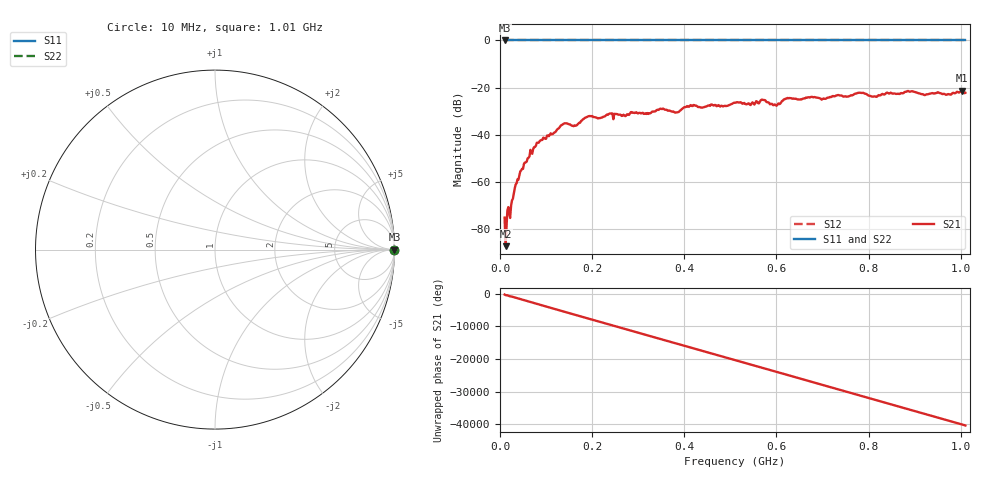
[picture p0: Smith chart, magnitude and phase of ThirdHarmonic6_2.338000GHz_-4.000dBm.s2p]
! 8/17/2025 3:25:58 AM
! C:\ANRITSUVNA\TEMP\TEMP.S2P
! CHANNEL.1
! TR.MEASUREMENT
! RAW.DATA
! RF.CORRECTION.OFF
! AVERAGING.OFF
! IF.BANDWIDTH: 5KHZ
! SWEEPTYPE:  FREQ.SWEEP(Linear)
! Reference Plane Port Info
! PORT:  PORT1  PORT2
! DISTANCE:  0  m  0  m
! TIME:  0  s  0  s
! PHASE.OFFSET:  0  deg.  0  deg.
! LOSS:  0  dB  0  dB
! REF.LOSS:  0  dB  0  dB
! REF.FREQ:  0  Hz  0  Hz
! Power Info
! POWER:  -20  dBm  -20  dBm
! EFF.POWER:  -20  dBm  -20  dBm
! SOURCE.ATTEN:  0  dB  0  dB
! TEST.ATTEN:  0  dB  0  dB
# GHZ S RI R 50.0
! FREQ.GHZ  S11RE  S11IM  S21RE  S21IM  S12RE  S12IM  S22RE  S22IM
!; PortSelection: Port_12
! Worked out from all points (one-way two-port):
!   501 points, 10 MHz to 1.01 GHz, reference 50 ohm
!   highest |S21| = -21.32 dB at 1.002 GHz (marker M1); lowest = -87.1 dB at 12 MHz (marker M2)
!   lowest |S11| = 0.0 dB at 10 MHz (marker M3)
!   |S11| at or under -10 dB: nowhere
!   |S22| runs from 0.0 to 0.0 dB; largest |S21 - S12| = 1.1
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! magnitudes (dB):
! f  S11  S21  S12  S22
! 10 MHz  0.0  -75.0  0.0  0.0
! 12 MHz  0.0  -87.1  0.0  0.0
! 24 MHz  0.0  -70.1  0.0  0.0
! 34 MHz  0.0  -61.0  0.0  0.0
! 42 MHz  0.0  -57.2  0.0  0.0
! 78 MHz  0.0  -44.5  0.0  0.0
! 136 MHz  0.0  -35.6  0.0  0.0
! 162 MHz  0.0  -35.9  0.0  0.0
! 178 MHz  0.0  -33.8  0.0  0.0
! 194 MHz  0.0  -32.0  0.0  0.0
! 322 MHz  0.0  -31.1  0.0  0.0
! 344 MHz  0.0  -29.4  0.0  0.0
! 384 MHz  0.0  -30.4  0.0  0.0
! 416 MHz  0.0  -27.7  0.0  0.0
! 510 MHz  0.0  -26.4  0.0  0.0
! 572 MHz  0.0  -25.2  0.0  0.0
! 598 MHz  0.0  -27.4  0.0  0.0
! 624 MHz  0.0  -24.3  0.0  0.0
! 678 MHz  0.0  -23.9  0.0  0.0
! 844 MHz  0.0  -22.5  0.0  0.0
! 1.002 GHz  0.0  -21.3  0.0  0.0
! 1.01 GHz  0.0  -22.2  0.0  0.0
